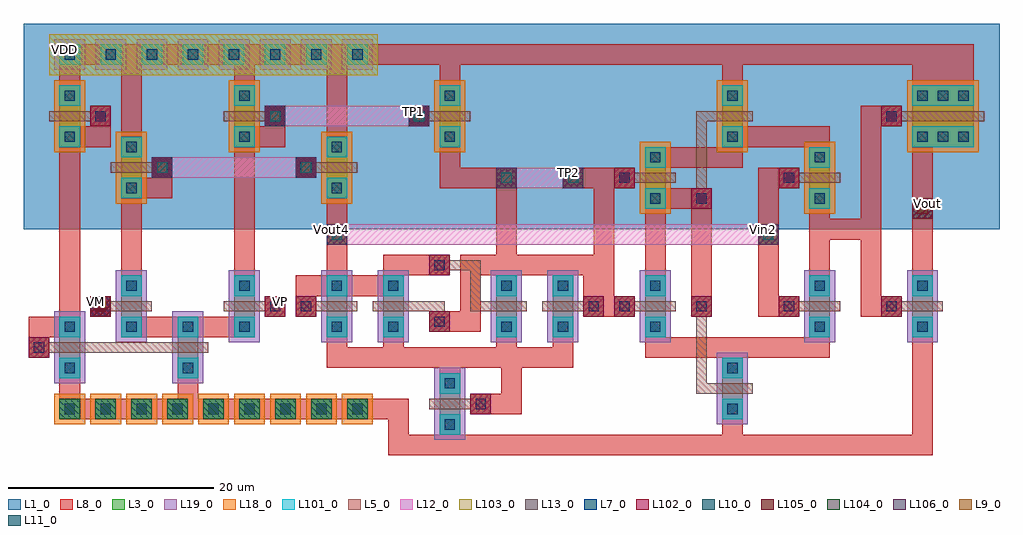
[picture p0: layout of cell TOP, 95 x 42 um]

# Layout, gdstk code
from math import pi, radians
import gdstk
lib = gdstk.Library(unit=1e-6, precision=1e-09)
def R(c, l, rs):  # rectangles x0, y0, x1, y1
    for r in rs: c.add(gdstk.rectangle(r[:2], r[2:], *l))
def P(c, l, *ps):  # polygons
    for p in ps: c.add(gdstk.Polygon(p, *l))
L1_0 = (1, 0)
L3_0 = (3, 0)
L5_0 = (5, 0)
L7_0 = (7, 0)
L8_0 = (8, 0)
L9_0 = (9, 0)
L10_0 = (10, 0)
L11_0 = (11, 0)
L12_0 = (12, 0)
L13_0 = (13, 0)
L18_0 = (18, 0)
L19_0 = (19, 0)
L101_0 = (101, 0)
L102_0 = (102, 0)
L103_0 = (103, 0)
L104_0 = (104, 0)
L105_0 = (105, 0)
L106_0 = (106, 0)

via = lib.new_cell('Via')
R(via, L8_0, [(-1,-1,1,1)])
R(via, L9_0, [(-0.5,-0.5,0.5,0.5)])
R(via, L10_0, [(-1,-1,1,1)])
R(via, L13_0, [(-0.5,-0.5,0.5,0.5)])
R(via, L105_0, [(-1,-1,1,1)])
via.add(gdstk.Label('via', (0,0), layer=13, texttype=0))

dcont = lib.new_cell('dcont')
R(dcont, L3_0, [(-1,-1,1,1)])
R(dcont, L7_0, [(-0.5,-0.5,0.5,0.5)])
R(dcont, L8_0, [(-1,-1,1,1)])
R(dcont, L13_0, [(-0.5,-0.5,0.5,0.5)])
R(dcont, L101_0, [(-1,-1,1,1)])
dcont.add(gdstk.Label('dcont', (0,0), layer=13, texttype=0))

via2 = lib.new_cell('Via2')
R(via2, L10_0, [(-1,-1,1,1)])
R(via2, L11_0, [(-0.5,-0.5,0.5,0.5)])
P(via2, L11_0, [(-1,0),(-1,0),(-1,0),(-1,0)],
  [(1,1),(1,1),(1,1),(1,1)])
R(via2, L12_0, [(-1,-1,1,1)])
R(via2, L13_0, [(-0.5,-0.5,0.5,0.5)])
R(via2, L106_0, [(-1,-1,1,1)])
via2.add(gdstk.Label('via', (0,0), layer=13, texttype=0))

pcont = lib.new_cell('pcont')
R(pcont, L5_0, [(-1,-1,1,1)])
R(pcont, L7_0, [(-0.5,-0.5,0.5,0.5)])
R(pcont, L8_0, [(-1,-1,1,1)])
R(pcont, L13_0, [(-0.5,-0.5,0.5,0.5)])
R(pcont, L102_0, [(-1,-1,1,1)])
pcont.add(gdstk.Label('pcont', (0,0), layer=13, texttype=0))

nsubcont_1 = lib.new_cell('nsubcont$1')
R(nsubcont_1, L1_0, [(-2,-2,2,2)])
R(nsubcont_1, L19_0, [(-1.5,-1.5,1.5,1.5)])
R(nsubcont_1, L103_0, [(-2,-2,2,2)])
nsubcont_1.add(gdstk.Reference(dcont, (0,0)))
nsubcont_1.add(gdstk.Label('NScont', (0,0), layer=13, texttype=0))

psubcont_1 = lib.new_cell('psubcont$1')
R(psubcont_1, L18_0, [(-1.5,-1.5,1.5,1.5)])
R(psubcont_1, L104_0, [(-1,-1,1,1)])
psubcont_1.add(gdstk.Reference(dcont, (0,0)))
psubcont_1.add(gdstk.Label('PScon', (0,0), layer=13, texttype=0))

top = lib.new_cell('TOP')
R(top, L1_0, [(-2.5,62.5,92.5,82.5)])
R(top, L3_0, [(38,42.5,40,48.5), (65.5,44,67.5,50), (1,48,3,54), (12.5,48,14.5,54), (7,52,9,58), (18,52,20,58), (27,52,29,58), (32.5,52,34.5,58), (43.5,52,45.5,58), (49,52,51,58), (58,52,60,58), (74,52,76,58), (84,52,86,58), (58,64.5,60,70.5), (74,64.5,76,70.5), (7,65.5,9,71.5), (27,65.5,29,71.5), (1,70.5,3,76.5), (18,70.5,20,76.5), (38,70.5,40,76.5), (65.5,70.5,67.5,76.5), (84,70.5,90,76.5)])
R(top, L8_0, [(1,44,35,46), (84,76.5,90,80.5)])
R(top, L18_0, [(57.5,64,60.5,71), (73.5,64,76.5,71), (6.5,65,9.5,72), (26.5,65,29.5,72), (0.5,70,3.5,77), (17.5,70,20.5,77), (37.5,70,40.5,77), (65,70,68,77), (83.5,70,90.5,77)])
R(top, L19_0, [(37.5,42,40.5,49), (65,43.5,68,50.5), (0.5,47.5,3.5,54.5), (12,47.5,15,54.5), (6.5,51.5,9.5,58.5), (17.5,51.5,20.5,58.5), (26.5,51.5,29.5,58.5), (32,51.5,35,58.5), (43,51.5,46,58.5), (48.5,51.5,51.5,58.5), (57.5,51.5,60.5,58.5), (73.5,51.5,76.5,58.5), (83.5,51.5,86.5,58.5)])
top.add(gdstk.FlexPath([(12,66.5),(9,66.5)], 2, ends="flush", simple_path=True, layer=8, datatype=0))  # L8_0
top.add(gdstk.FlexPath([(23,71.5),(20,71.5)], 2, ends="flush", simple_path=True, layer=8, datatype=0))  # L8_0
top.add(gdstk.FlexPath([(9,79.5),(19,79.5),(19,76.5)], 2, ends="flush", simple_path=True, layer=8, datatype=0))  # L8_0
top.add(gdstk.FlexPath([(38,41.5),(34,41.5),(34,44)], 2, ends="flush", simple_path=True, layer=8, datatype=0))  # L8_0
top.add(gdstk.FlexPath([(28,52),(28,51),(28,50)], 2, ends="flush", simple_path=True, layer=8, datatype=0))  # L8_0
top.add(gdstk.FlexPath([(33.5,52),(33.5,50)], 2, ends="flush", simple_path=True, layer=8, datatype=0))  # L8_0
top.add(gdstk.FlexPath([(28,65.5),(28,58)], 2, ends="flush", simple_path=True, layer=8, datatype=0))  # L8_0
top.add(gdstk.FlexPath([(20,79.5),(28,79.5),(28,71.5)], 2, ends="flush", simple_path=True, layer=8, datatype=0))  # L8_0
top.add(gdstk.FlexPath([(29,79.5),(39,79.5),(39,76.5)], 2, ends="flush", simple_path=True, layer=8, datatype=0))  # L8_0
top.add(gdstk.FlexPath([(24,57),(32.5,57),(32.5,57)], 2, ends="flush", simple_path=True, layer=8, datatype=0))  # L8_0
top.add(gdstk.FlexPath([(27,50),(40,50),(40,50)], 2, ends="flush", simple_path=True, layer=8, datatype=0))  # L8_0
top.add(gdstk.FlexPath([(45.5,59),(53,59),(53,56)], 2, ends="flush", simple_path=True, layer=8, datatype=0))  # L8_0
top.add(gdstk.FlexPath([(40,50),(51,50)], 2, ends="flush", simple_path=True, layer=8, datatype=0))  # L8_0
top.add(gdstk.FlexPath([(37,59),(32.5,59),(32.5,59)], 2, ends="flush", simple_path=True, layer=8, datatype=0))  # L8_0
top.add(gdstk.FlexPath([(44.5,52),(44.5,50)], 2, ends="flush", simple_path=True, layer=8, datatype=0))  # L8_0
top.add(gdstk.FlexPath([(50,52),(50,50)], 2, ends="flush", simple_path=True, layer=8, datatype=0))  # L8_0
top.add(gdstk.FlexPath([(39,50),(39,48)], 2, ends="flush", simple_path=True, layer=8, datatype=0))  # L8_0
top.add(gdstk.FlexPath([(45,49),(45,45.5),(43,45.5)], 2, ends="flush", simple_path=True, layer=8, datatype=0))  # L8_0
top.add(gdstk.FlexPath([(19,70.5),(19,58)], 2, ends="flush", simple_path=True, layer=8, datatype=0))  # L8_0
top.add(gdstk.FlexPath([(9,53),(18,53)], 2, ends="flush", simple_path=True, layer=8, datatype=0))  # L8_0
top.add(gdstk.FlexPath([(2,70.5),(2,54)], 2, ends="flush", simple_path=True, layer=8, datatype=0))  # L8_0
top.add(gdstk.FlexPath([(3,71.5),(6,71.5)], 2, ends="flush", simple_path=True, layer=8, datatype=0))  # L8_0
top.add(gdstk.FlexPath([(1,53),(-2,53)], 2, ends="flush", simple_path=True, layer=8, datatype=0))  # L8_0
top.add(gdstk.FlexPath([(8,65.5),(8,58)], 2, ends="flush", simple_path=True, layer=8, datatype=0))  # L8_0
top.add(gdstk.FlexPath([(13.5,48),(13.5,44.5)], 2, ends="flush", simple_path=True, layer=8, datatype=0))  # L8_0
top.add(gdstk.FlexPath([(2,78.5),(2,76.5)], 2, ends="flush", simple_path=True, layer=8, datatype=0))  # L8_0
top.add(gdstk.FlexPath([(2,48),(2,46)], 2, ends="flush", simple_path=True, layer=8, datatype=0))  # L8_0
top.add(gdstk.FlexPath([(3,79.5),(8,79.5),(8,71.5)], 2, ends="flush", simple_path=True, layer=8, datatype=0))  # L8_0
top.add(gdstk.FlexPath([(39,70.5),(39,67.5),(44.5,67.5),(44.5,59),(41,59),(41,53.5),(39,53.5)], 2, ends="flush", simple_path=True, layer=8, datatype=0))  # L8_0
top.add(gdstk.FlexPath([(40,79.5),(66,79.5),(66.5,79.5),(66.5,76.5)], 2, ends="flush", simple_path=True, layer=8, datatype=0))  # L8_0
top.add(gdstk.FlexPath([(75,65.5),(75,57.5)], 2, ends="flush", simple_path=True, layer=8, datatype=0))  # L8_0
top.add(gdstk.FlexPath([(38,41.5),(67.5,41.5)], 2, ends="flush", simple_path=True, layer=8, datatype=0))  # L8_0
top.add(gdstk.FlexPath([(66.5,44),(66.5,42.5),(66.5,42.5)], 2, ends="flush", simple_path=True, layer=8, datatype=0))  # L8_0
top.add(gdstk.FlexPath([(85,70.5),(85,58)], 2, ends="flush", simple_path=True, layer=8, datatype=0))  # L8_0
top.add(gdstk.FlexPath([(67.5,71.5),(76,71.5)], 2, ends="flush", simple_path=True, layer=8, datatype=0))  # L8_0
top.add(gdstk.FlexPath([(60,69.5),(67.5,69.5)], 2, ends="flush", simple_path=True, layer=8, datatype=0))  # L8_0
top.add(gdstk.FlexPath([(59,64.5),(59,58)], 2, ends="flush", simple_path=True, layer=8, datatype=0))  # L8_0
top.add(gdstk.FlexPath([(60,65.5),(62.5,65.5)], 2, ends="flush", simple_path=True, layer=8, datatype=0))  # L8_0
top.add(gdstk.FlexPath([(63.5,64.5),(63.5,56)], 2, ends="flush", simple_path=True, layer=8, datatype=0))  # L8_0
top.add(gdstk.FlexPath([(58,51),(76,51)], 2, ends="flush", simple_path=True, layer=8, datatype=0))  # L8_0
top.add(gdstk.FlexPath([(76,62.5),(79,62.5)], 2, ends="flush", simple_path=True, layer=8, datatype=0))  # L8_0
top.add(gdstk.FlexPath([(67.5,79.5),(84,79.5)], 2, ends="flush", simple_path=True, layer=8, datatype=0))  # L8_0
top.add(gdstk.FlexPath([(67.5,41.5),(85,41.5),(85,52)], 2, ends="flush", simple_path=True, layer=8, datatype=0))  # L8_0
top.add(gdstk.FlexPath([(70,68.5),(70,54)], 2, ends="flush", simple_path=True, layer=8, datatype=0))  # L8_0
top.add(gdstk.FlexPath([(80,74.5),(80,54)], 2, ends="flush", simple_path=True, layer=8, datatype=0))  # L8_0
top.add(gdstk.FlexPath([(52,67.5),(55,67.5)], 2, ends="flush", simple_path=True, layer=8, datatype=0))  # L8_0
top.add(gdstk.FlexPath([(54,67.5),(54,54)], 2, ends="flush", simple_path=True, layer=8, datatype=0))  # L8_0
top.add(gdstk.FlexPath([(48,55),(52,55)], 1, ends="flush", simple_path=True, layer=5, datatype=0))  # L5_0
top.add(gdstk.FlexPath([(42.5,55),(46.5,55)], 1, ends="flush", simple_path=True, layer=5, datatype=0))  # L5_0
top.add(gdstk.FlexPath([(35.5,55),(38,55),(38,54)], 1, ends="flush", simple_path=True, layer=5, datatype=0))  # L5_0
top.add(gdstk.FlexPath([(38.5,59),(41.5,59),(41.5,55),(42.5,55)], 1, ends="flush", simple_path=True, layer=5, datatype=0))  # L5_0
top.add(gdstk.FlexPath([(26,68.5),(30,68.5)], 1, ends="flush", simple_path=True, layer=5, datatype=0))  # L5_0
top.add(gdstk.FlexPath([(37,73.5),(41,73.5)], 1, ends="flush", simple_path=True, layer=5, datatype=0))  # L5_0
top.add(gdstk.FlexPath([(31.5,55),(35.5,55)], 1, ends="flush", simple_path=True, layer=5, datatype=0))  # L5_0
top.add(gdstk.FlexPath([(26,55),(30,55)], 1, ends="flush", simple_path=True, layer=5, datatype=0))  # L5_0
top.add(gdstk.FlexPath([(37,45.5),(41,45.5)], 1, ends="flush", simple_path=True, layer=5, datatype=0))  # L5_0
top.add(gdstk.FlexPath([(17,55),(21,55)], 1, ends="flush", simple_path=True, layer=5, datatype=0))  # L5_0
top.add(gdstk.FlexPath([(17,73.5),(21,73.5)], 1, ends="flush", simple_path=True, layer=5, datatype=0))  # L5_0
top.add(gdstk.FlexPath([(11.5,51),(15.5,51)], 1, ends="flush", simple_path=True, layer=5, datatype=0))  # L5_0
top.add(gdstk.FlexPath([(4,51),(4,51),(11.5,51)], 1, ends="flush", simple_path=True, layer=5, datatype=0))  # L5_0
top.add(gdstk.FlexPath([(6,55),(10,55)], 1, ends="flush", simple_path=True, layer=5, datatype=0))  # L5_0
top.add(gdstk.FlexPath([(6,68.5),(10,68.5)], 1, ends="flush", simple_path=True, layer=5, datatype=0))  # L5_0
top.add(gdstk.FlexPath([(0,51),(4,51)], 1, ends="flush", simple_path=True, layer=5, datatype=0))  # L5_0
top.add(gdstk.FlexPath([(0,73.5),(4,73.5)], 1, ends="flush", simple_path=True, layer=5, datatype=0))  # L5_0
top.add(gdstk.FlexPath([(83,55),(87,55)], 1, ends="flush", simple_path=True, layer=5, datatype=0))  # L5_0
top.add(gdstk.FlexPath([(73,67.5),(77,67.5)], 1, ends="flush", simple_path=True, layer=5, datatype=0))  # L5_0
top.add(gdstk.FlexPath([(64.5,73.5),(68.5,73.5)], 1, ends="flush", simple_path=True, layer=5, datatype=0))  # L5_0
top.add(gdstk.FlexPath([(57,67.5),(61,67.5)], 1, ends="flush", simple_path=True, layer=5, datatype=0))  # L5_0
top.add(gdstk.FlexPath([(82.5,73.5),(91,73.5)], 1, ends="flush", simple_path=True, layer=5, datatype=0))  # L5_0
top.add(gdstk.FlexPath([(64.5,73.5),(63.5,73.5),(63.5,66.5)], 1, ends="flush", simple_path=True, layer=5, datatype=0))  # L5_0
top.add(gdstk.FlexPath([(73,55),(77,55)], 1, ends="flush", simple_path=True, layer=5, datatype=0))  # L5_0
top.add(gdstk.FlexPath([(57,55),(61,55)], 1, ends="flush", simple_path=True, layer=5, datatype=0))  # L5_0
top.add(gdstk.FlexPath([(64.5,47),(68.5,47)], 1, ends="flush", simple_path=True, layer=5, datatype=0))  # L5_0
top.add(gdstk.FlexPath([(63.5,54),(63.5,47),(64.5,47)], 1, ends="flush", simple_path=True, layer=5, datatype=0))  # L5_0
top.add(gdstk.FlexPath([(23,73.5),(35,73.5)], 2, ends="flush", simple_path=True, layer=12, datatype=0))  # L12_0
top.add(gdstk.FlexPath([(12,68.5),(24,68.5)], 2, ends="flush", simple_path=True, layer=12, datatype=0))  # L12_0
top.add(gdstk.FlexPath([(45.5,67.5),(50,67.5)], 2, ends="flush", simple_path=True, layer=12, datatype=0))  # L12_0
top.add(gdstk.FlexPath([(29,62),(69,62)], 2, ends="flush", simple_path=True, layer=12, datatype=0))  # L12_0
top.add(gdstk.Reference(via, (70,62), rotation=pi))
top.add(gdstk.Reference(dcont, (44.5,53), rotation=pi))
top.add(gdstk.Reference(dcont, (44.5,57), rotation=pi))
top.add(gdstk.Reference(via, (44.5,67.5), rotation=pi))
top.add(gdstk.Reference(via, (28,62), rotation=pi))
top.add(gdstk.Reference(via2, (44.5,67.5), rotation=pi))
top.add(gdstk.Reference(via2, (28,62), rotation=pi))
top.add(gdstk.Reference(via2, (70,62), rotation=pi))
top.add(gdstk.Reference(dcont, (59,69.5), rotation=pi))
top.add(gdstk.Reference(pcont, (56,67.5), rotation=pi))
top.add(gdstk.Reference(dcont, (87,71.5), rotation=pi))
top.add(gdstk.Reference(dcont, (87,75.5), rotation=pi))
top.add(gdstk.Reference(dcont, (85,75.5), rotation=pi))
top.add(gdstk.Reference(dcont, (85,71.5), rotation=pi))
top.add(gdstk.Reference(dcont, (89,71.5), rotation=pi))
top.add(gdstk.Reference(dcont, (89,75.5), rotation=pi))
top.add(gdstk.Reference(pcont, (82,73.5), rotation=pi))
top.add(gdstk.Reference(via, (51,67.5), rotation=pi))
top.add(gdstk.Reference(via, (85,64.5), rotation=pi))
top.add(gdstk.Reference(dcont, (75,65.5), rotation=pi))
top.add(gdstk.Reference(dcont, (75,69.5), rotation=pi))
top.add(gdstk.Reference(pcont, (72,67.5), rotation=pi))
top.add(gdstk.Reference(dcont, (66.5,71.5), rotation=pi))
top.add(gdstk.Reference(dcont, (66.5,75.5), rotation=pi))
top.add(gdstk.Reference(via2, (51,67.5), rotation=pi))
top.add(gdstk.Reference(pcont, (63.5,65.5), rotation=pi))
top.add(gdstk.Reference(dcont, (59,65.5), rotation=pi))
top.add(gdstk.Reference(dcont, (2,71.5), rotation=pi))
top.add(gdstk.Reference(pcont, (36,73.5), rotation=pi))
top.add(gdstk.Reference(pcont, (25,68.5), rotation=pi))
top.add(gdstk.Reference(dcont, (28,70.5), rotation=pi))
top.add(gdstk.Reference(dcont, (28,66.5), rotation=pi))
top.add(gdstk.Reference(pcont, (11,68.5), rotation=pi))
top.add(gdstk.Reference(dcont, (8,70.5), rotation=pi))
top.add(gdstk.Reference(dcont, (8,66.5), rotation=pi))
top.add(gdstk.Reference(dcont, (19,71.5), rotation=pi))
top.add(gdstk.Reference(dcont, (19,75.5), rotation=pi))
top.add(gdstk.Reference(pcont, (22,73.5), rotation=pi))
top.add(gdstk.Reference(via, (11,68.5), rotation=pi))
top.add(gdstk.Reference(via, (22,73.5), rotation=pi))
top.add(gdstk.Reference(via, (25,68.5), rotation=pi))
top.add(gdstk.Reference(via, (36,73.5), rotation=pi))
top.add(gdstk.Reference(nsubcont_1, (2,79.5)))
top.add(gdstk.Reference(nsubcont_1, (6,79.5)))
top.add(gdstk.Reference(nsubcont_1, (10,79.5)))
top.add(gdstk.Reference(nsubcont_1, (14,79.5)))
top.add(gdstk.Reference(nsubcont_1, (30,79.5)))
top.add(gdstk.Reference(nsubcont_1, (22,79.5)))
top.add(gdstk.Reference(nsubcont_1, (26,79.5)))
top.add(gdstk.Reference(nsubcont_1, (18,79.5)))
top.add(gdstk.Reference(via2, (11,68.5), rotation=pi))
top.add(gdstk.Reference(via2, (22,73.5), rotation=pi))
top.add(gdstk.Reference(via2, (36,73.5), rotation=pi))
top.add(gdstk.Reference(via2, (25,68.5), rotation=pi))
top.add(gdstk.Reference(dcont, (2,75.5), rotation=pi))
top.add(gdstk.Reference(pcont, (5,73.5), rotation=pi))
top.add(gdstk.Reference(dcont, (39,71.5), rotation=pi))
top.add(gdstk.Reference(dcont, (39,75.5), rotation=pi))
top.add(gdstk.Reference(dcont, (13.5,49), rotation=pi))
top.add(gdstk.Reference(dcont, (13.5,53), rotation=pi))
top.add(gdstk.Reference(dcont, (28,57), rotation=pi))
top.add(gdstk.Reference(dcont, (28,53), rotation=pi))
top.add(gdstk.Reference(pcont, (42,45.5), rotation=pi))
top.add(gdstk.Reference(dcont, (39,47.5), rotation=pi))
top.add(gdstk.Reference(dcont, (39,43.5), rotation=pi))
top.add(gdstk.Reference(psubcont_1, (5.5,45)))
top.add(gdstk.Reference(psubcont_1, (9,45)))
top.add(gdstk.Reference(psubcont_1, (19.5,45)))
top.add(gdstk.Reference(psubcont_1, (16,45)))
top.add(gdstk.Reference(psubcont_1, (12.5,45)))
top.add(gdstk.Reference(psubcont_1, (23,45)))
top.add(gdstk.Reference(psubcont_1, (30,45)))
top.add(gdstk.Reference(psubcont_1, (26.5,45)))
top.add(gdstk.Reference(psubcont_1, (2,45)))
top.add(gdstk.Reference(dcont, (2,53), rotation=pi))
top.add(gdstk.Reference(dcont, (2,49), rotation=pi))
top.add(gdstk.Reference(pcont, (38,59), rotation=pi))
top.add(gdstk.Reference(pcont, (-1,51), rotation=pi))
top.add(gdstk.Reference(pcont, (38,53.5), rotation=pi))
top.add(gdstk.Reference(pcont, (5,55), rotation=pi))
top.add(gdstk.Reference(dcont, (8,57), rotation=pi))
top.add(gdstk.Reference(dcont, (8,53), rotation=pi))
top.add(gdstk.Reference(via, (5,55), rotation=pi))
top.add(gdstk.Reference(dcont, (19,53), rotation=pi))
top.add(gdstk.Reference(dcont, (19,57), rotation=pi))
top.add(gdstk.Reference(pcont, (22,55), rotation=pi))
top.add(gdstk.Reference(dcont, (33.5,53), rotation=pi))
top.add(gdstk.Reference(dcont, (33.5,57), rotation=pi))
top.add(gdstk.Reference(pcont, (25,55), rotation=pi))
top.add(gdstk.Reference(dcont, (75,53), rotation=pi))
top.add(gdstk.Reference(dcont, (66.5,45), rotation=pi))
top.add(gdstk.Reference(dcont, (66.5,49), rotation=pi))
top.add(gdstk.Reference(pcont, (63.5,55), rotation=pi))
top.add(gdstk.Reference(dcont, (85,53), rotation=pi))
top.add(gdstk.Reference(pcont, (56,55), rotation=pi))
top.add(gdstk.Reference(pcont, (72,55), rotation=pi))
top.add(gdstk.Reference(dcont, (50,53), rotation=pi))
top.add(gdstk.Reference(dcont, (50,57), rotation=pi))
top.add(gdstk.Reference(pcont, (53,55), rotation=pi))
top.add(gdstk.Reference(dcont, (85,57), rotation=pi))
top.add(gdstk.Reference(pcont, (82,55), rotation=pi))
top.add(gdstk.Reference(dcont, (59,57), rotation=pi))
top.add(gdstk.Reference(dcont, (59,53), rotation=pi))
top.add(gdstk.Reference(dcont, (75,57), rotation=pi))
top.add(gdstk.Label('VDD', (1.5,80), layer=8, texttype=0))
top.add(gdstk.Label('TP2', (50.5,68), layer=10, texttype=0))
top.add(gdstk.Label('TP1', (35.5,74), layer=10, texttype=0))
top.add(gdstk.Label('VP', (22.5,55.5), layer=10, texttype=0))
top.add(gdstk.Label('VM', (4.5,55.5), layer=10, texttype=0))
top.add(gdstk.Label('Vout4', (27.5,62.5), layer=10, texttype=0))
top.add(gdstk.Label('Vin2', (69.5,62.5), layer=10, texttype=0))
top.add(gdstk.Label('Vout', (85.5,65), layer=10, texttype=0))

lib.write_gds('TOP.gds')
